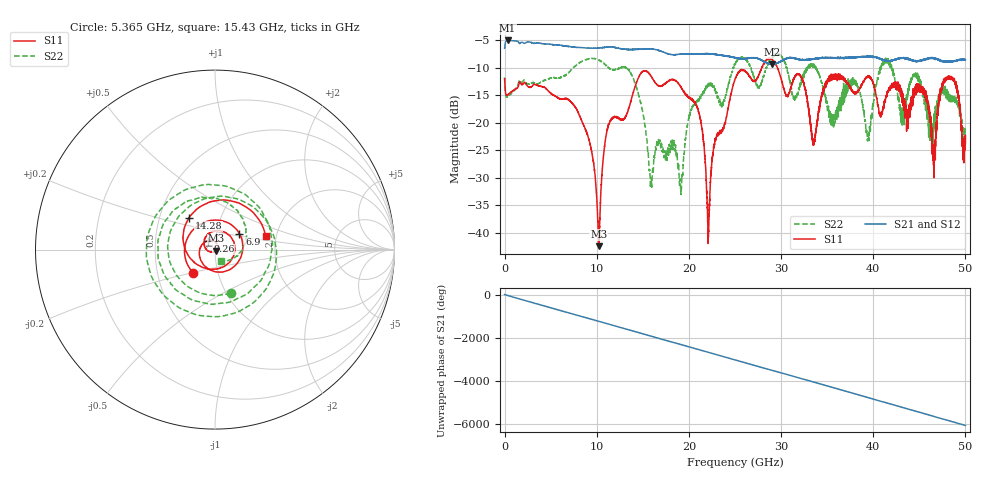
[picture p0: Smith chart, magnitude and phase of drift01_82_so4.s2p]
!Created with skrf (http://scikit-rf.org).
# Hz S RI R 50.0
!freq ReS11 ImS11 ReS21 ImS21 ReS12 ImS12 ReS22 ImS22
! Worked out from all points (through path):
!   10001 points, 300 kHz to 50 GHz, reference 50 ohm
!   highest |S21| = -5.05 dB at 325.3 MHz (marker M1); lowest = -9.4 dB at 28.98 GHz (marker M2)
!   group delay of S21, straight-line fit = 336 ps
!   lowest |S11| = -42.4 dB at 10.22 GHz (marker M3), VSWR 1.02, Z = 50.5 - j0.543 ohm
!   |S11| at or under -10 dB: start of sweep to 27.9 GHz; 29.59436 GHz to 29.59985 GHz (5.487 MHz wide, 0.0185 % of centre); 29.6 GHz to end of sweep
!   |S22| runs from -33.0 to -7.5 dB; largest |S21 - S12| = 0.013
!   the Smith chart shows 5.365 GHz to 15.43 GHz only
!   S11 on the Smith chart (normalised r, x): 5.365 GHz: 0.76, -0.20; 6.9 GHz: 1.29, +0.23; 9.26 GHz: 0.92, +0.09; 14.28 GHz: 0.71, +0.26; 15.43 GHz: 1.76, +0.28
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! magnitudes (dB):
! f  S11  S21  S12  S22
! 300 kHz  -12.0  -6.5  -6.5  -11.8
! 325.3 MHz  -15.0  -5.1  -5.1  -15.3
! 5.365 GHz  -15.0  -5.8  -5.8  -11.8
! 6.9 GHz  -15.8  -6.1  -6.1  -11.0
! 8.335 GHz  -19.5  -6.4  -6.4  -8.9
! 9.26 GHz  -23.9  -6.4  -6.4  -8.4
! 10.22 GHz  -42.4  -6.4  -6.4  -8.6
! 11.23 GHz  -20.6  -6.2  -6.2  -9.9
! 14.28 GHz  -12.8  -6.7  -6.7  -13.4
! 15.43 GHz  -10.7  -6.6  -6.6  -22.8
! 16.67 GHz  -13.3  -6.9  -6.8  -23.3
! 19.15 GHz  -13.5  -7.5  -7.5  -33.0
! 20.86 GHz  -17.1  -7.5  -7.5  -16.1
! 22.12 GHz  -40.8  -7.5  -7.5  -13.3
! 25 GHz  -12.1  -8.2  -8.2  -9.3
! 28.98 GHz  -8.4  -9.4  -9.4  -8.2
! 33.34 GHz  -22.5  -8.5  -8.5  -9.6
! 39.46 GHz  -11.6  -8.0  -8.0  -21.7
! 41.67 GHz  -13.8  -8.7  -8.7  -9.0
! 46.56 GHz  -26.3  -8.3  -8.3  -20.5
! 48.56 GHz  -12.0  -8.9  -8.8  -15.9
! 50 GHz  -23.8  -8.6  -8.6  -23.3
